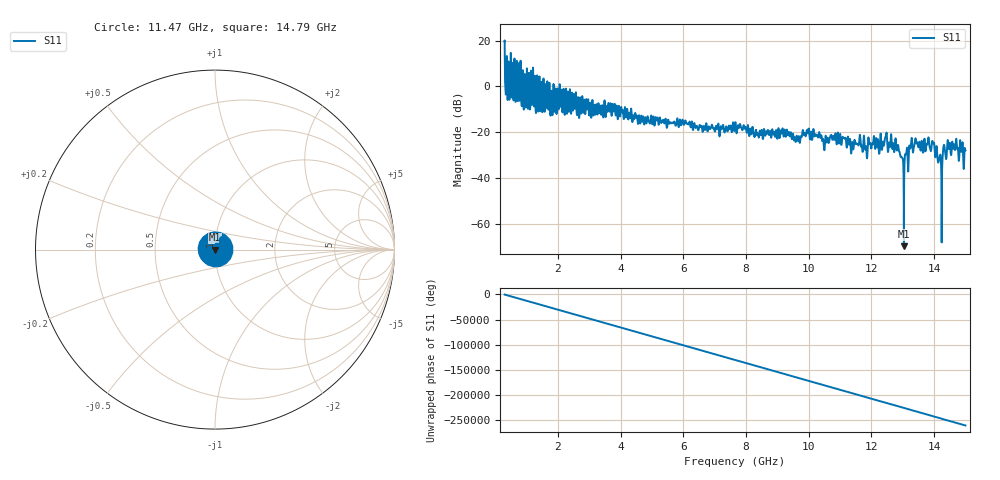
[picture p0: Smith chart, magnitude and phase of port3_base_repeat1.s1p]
# GHZ S RI R 50.0
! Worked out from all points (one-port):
!   12801 points, 300 MHz to 15 GHz, reference 50 ohm
!   lowest |S11| = -69.8 dB at 13.04 GHz (marker M1), VSWR 1.00, Z = 50 + j0.0101 ohm
!   |S11| at or under -10 dB: 4.03 GHz to 4.131 GHz (101.5 MHz wide, 2.49 % of centre); 4.212 GHz to 4.332 GHz (119.6 MHz wide, 2.8 % of centre); 4.341 GHz to end of sweep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
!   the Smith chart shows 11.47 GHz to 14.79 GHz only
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0.3  -6.524 -7.13
0.3746484  3.147 -0.6106
0.3826875  -1.029 -0.1558
0.4228828  -2.565 1.838
0.4309219  1.034 -0.4356
0.4424063  -0.5469 0.2886
0.4481484  0.1943 0.4902
0.7524844  0.673 1.518
0.9109687  -0.2982 -0.0909
1.202672  -1.22 0.7418
1.31407  0.1795 -0.2666
2.1375  0.0552 0.2903
3.975  0.1674 0.1543
5.8125  0.0109 -0.1986
7.65  -0.056 -0.1261
9.4875  -0.0367 0.0766
9.946875  -0.1097 0.00833
11.325  0.0568 0.0346
12.29543  0.0542 0.0765
12.43669  -0.00363 0.0743
12.82486  -0.0417 -0.00434
13.03847  -0.000307 0.000101
13.1625  -0.0203 0.00136
13.46224  0.033 -0.0476
14.00775  0.0497 0.0185
14.1915  0.0271 -0.017
14.47057  0.0367 -0.0229
15  0.0397 0.00306
